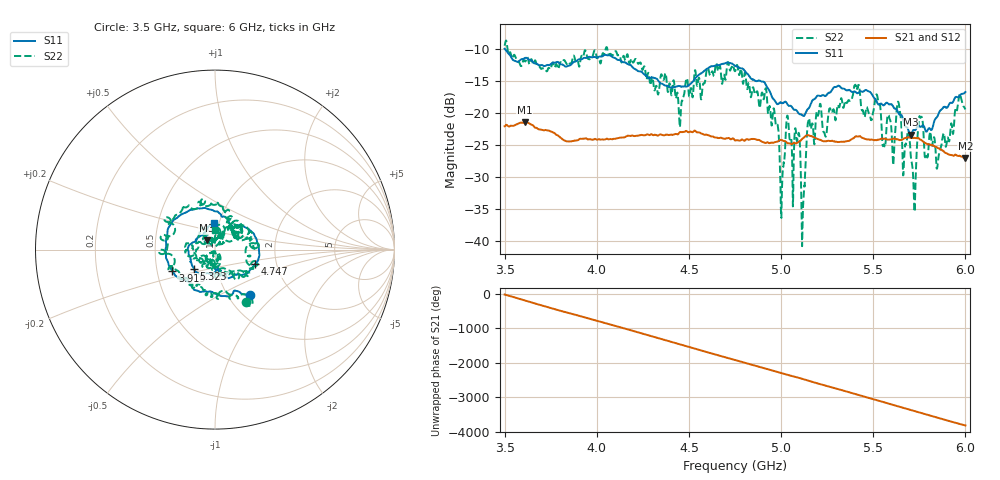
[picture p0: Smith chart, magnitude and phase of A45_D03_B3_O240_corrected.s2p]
! Created with skrf 1.9.0 (http://scikit-rf.org).
# Hz S RI R 50.0
!freq ReS11 ImS11 ReS21 ImS21 ReS12 ImS12 ReS22 ImS22
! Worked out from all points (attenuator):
!   1601 points, 3.5 GHz to 6 GHz, reference 50 ohm
!   highest |S21| = -21.42 dB at 3.609 GHz (marker M1); lowest = -27.0 dB at 6 GHz (marker M2)
!   lowest |S11| = -23.4 dB at 5.703 GHz (marker M3), VSWR 1.15, Z = 45.5 + j4.67 ohm
!   |S11| at or under -10 dB: 3.503 GHz to end of sweep
!   |S22| runs from -40.8 to -8.6 dB; largest |S21 - S12| = 0.001
!   S11 on the Smith chart (normalised r, x): 3.5 GHz: 1.25, -0.71; 3.919 GHz: 0.60, -0.15; 4.747 GHz: 1.55, -0.26; 5.323 GHz: 0.78, -0.18; 6 GHz: 0.95, +0.28
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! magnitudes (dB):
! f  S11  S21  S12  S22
! 3.5 GHz  -9.9  -22.0  -22.0  -9.4
! 3.609 GHz  -11.4  -21.4  -21.4  -11.8
! 3.917 GHz  -11.6  -24.0  -24.0  -11.0
! 3.919 GHz  -11.5  -24.0  -24.0  -11.0
! 4.334 GHz  -14.9  -23.4  -23.4  -16.9
! 4.455 GHz  -15.8  -22.9  -22.9  -20.7
! 4.747 GHz  -12.5  -24.2  -24.1  -13.3
! 4.75 GHz  -12.6  -24.2  -24.2  -13.4
! 4.969 GHz  -18.1  -24.5  -24.4  -21.3
! 5.005 GHz  -18.3  -24.2  -24.2  -31.8
! 5.034 GHz  -18.6  -24.7  -24.6  -20.3
! 5.088 GHz  -19.7  -24.6  -24.6  -24.3
! 5.119 GHz  -20.3  -23.9  -23.8  -34.8
! 5.145 GHz  -19.3  -23.4  -23.4  -21.5
! 5.167 GHz  -18.1  -23.6  -23.6  -21.7
! 5.323 GHz  -15.9  -24.4  -24.4  -17.9
! 5.584 GHz  -18.6  -24.1  -24.1  -20.3
! 5.703 GHz  -23.4  -23.9  -23.8  -26.4
! 5.72 GHz  -22.6  -23.8  -23.8  -32.5
! 5.756 GHz  -22.1  -24.1  -24.0  -20.7
! 5.852 GHz  -20.3  -25.4  -25.4  -27.4
! 6 GHz  -16.7  -27.0  -26.9  -19.4
